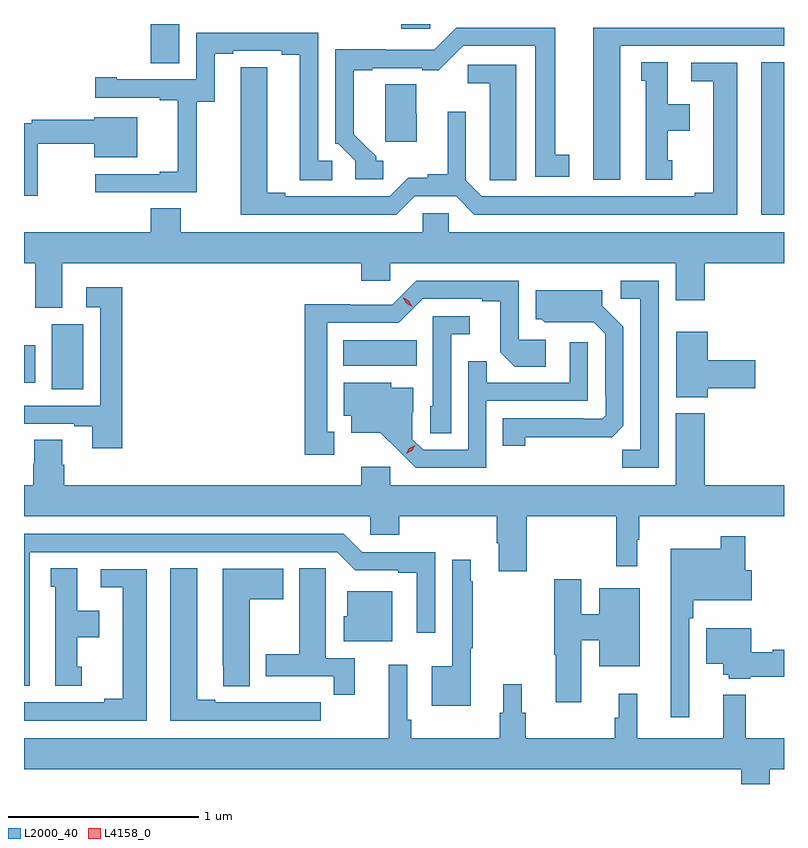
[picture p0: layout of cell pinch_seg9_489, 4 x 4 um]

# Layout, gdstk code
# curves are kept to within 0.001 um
import gdstk
lib = gdstk.Library(unit=1e-6, precision=1e-09)
def R(c, l, rs):  # rectangles x0, y0, x1, y1
    for r in rs: c.add(gdstk.rectangle(r[:2], r[2:], *l))
def P(c, l, *ps):  # polygons
    for p in ps: c.add(gdstk.Polygon(p, *l))
L2000_40 = (2000, 40)
L4158_0 = (4158, 0)

pinch_seg9_489 = lib.new_cell('pinch_seg9_489')
R(pinch_seg9_489, L2000_40, [(276.362,1202.416,276.526,1202.76), (276.215,1202.451,276.274,1202.647), (277.895,1202.54,278.282,1202.674), (280.094,1203.336,280.215,1204.139), (276.881,1204.132,277.033,1204.339), (278.201,1204.314,278.352,1204.339)])
P(pinch_seg9_489, L2000_40, [(279.352,1204.224),(280.215,1204.224),(280.215,1204.32),(279.212,1204.32),(279.212,1203.519),(279.352,1203.519)],
  [(278.107,1203.618),(278.068,1203.618),(278.068,1203.642),(277.951,1203.758),(277.951,1204.095),(278.047,1204.095),(278.047,1204.107),(278.312,1204.107),(278.312,1204.096),(278.398,1204.096),(278.526,1204.224),(278.906,1204.224),(278.906,1203.534),(279.085,1203.534),(279.085,1203.65),(279.01,1203.65),(279.01,1204.32),(278.49,1204.32),(278.373,1204.203),(278.117,1204.203),(278.117,1204.205),(277.854,1204.205),(277.854,1203.708),(277.869,1203.708),(277.959,1203.618),(277.959,1203.522),(278.107,1203.522)],
  [(277.125,1203.931),(277.219,1203.931),(277.219,1204.182),(277.315,1204.182),(277.315,1204.197),(277.571,1204.197),(277.571,1204.177),(277.667,1204.177),(277.667,1203.517),(277.837,1203.517),(277.837,1203.618),(277.764,1203.618),(277.764,1204.293),(277.122,1204.293),(277.122,1204.047),(276.703,1204.047),(276.703,1204.06),(276.591,1204.06),(276.591,1203.951),(276.929,1203.951),(276.929,1203.939),(277.025,1203.939),(277.025,1203.562),(276.929,1203.562),(276.929,1203.549),(276.591,1203.549),(276.591,1203.453),(277.125,1203.453)],
  [(279.628,1203.621),(279.604,1203.621),(279.604,1203.776),(279.718,1203.776),(279.718,1203.916),(279.604,1203.916),(279.604,1204.139),(279.464,1204.139),(279.464,1204.041),(279.488,1204.041),(279.488,1203.519),(279.628,1203.519)],
  [(278.271,1203.432),(278.489,1203.432),(278.585,1203.336),(279.97,1203.336),(279.97,1204.134),(279.726,1204.134),(279.726,1204.038),(279.842,1204.038),(279.842,1203.452),(279.746,1203.452),(279.746,1203.432),(278.625,1203.432),(278.541,1203.516),(278.541,1203.877),(278.444,1203.877),(278.444,1203.548),(278.34,1203.548),(278.34,1203.53),(278.237,1203.53),(278.139,1203.432),(277.591,1203.432),(277.591,1203.452),(277.495,1203.452),(277.495,1204.112),(277.356,1204.112),(277.355,1203.336),(278.175,1203.336)],
  [(278.806,1204.125),(278.55,1204.125),(278.55,1204.028),(278.666,1204.028),(278.666,1203.625),(278.667,1203.625),(278.667,1203.517),(278.806,1203.517)],
  [(278.281,1203.864),(278.28,1203.864),(278.28,1204.022),(278.117,1204.022),(278.117,1203.72),(278.281,1203.72)],
  [(276.288,1203.708),(276.584,1203.708),(276.584,1203.638),(276.811,1203.638),(276.811,1203.847),(276.584,1203.847),(276.584,1203.836),(276.256,1203.836),(276.256,1203.816),(276.215,1203.816),(276.215,1203.435),(276.288,1203.435)],
  [(276.415,1203.08),(277.991,1203.08),(277.991,1202.987),(278.142,1202.987),(278.142,1203.08),(279.644,1203.08),(279.644,1202.886),(279.797,1202.886),(279.797,1203.08),(280.215,1203.08),(280.215,1203.244),(278.451,1203.244),(278.451,1203.342),(278.313,1203.342),(278.313,1203.244),(277.041,1203.244),(277.041,1203.368),(276.881,1203.368),(276.881,1203.244),(276.215,1203.244),(276.215,1203.08),(276.275,1203.08),(276.275,1202.845),(276.415,1202.845)],
  [(277.849,1202.193),(277.81,1202.193),(277.81,1202.766),(278.187,1202.766),(278.313,1202.892),(278.627,1202.892),(278.627,1202.88),(278.721,1202.88),(278.721,1202.612),(278.797,1202.536),(278.962,1202.536),(278.962,1202.676),(278.82,1202.676),(278.82,1202.988),(278.28,1202.988),(278.154,1202.862),(277.932,1202.862),(277.932,1202.864),(277.692,1202.864),(277.692,1202.073),(277.849,1202.073)],
  [(279.555,1202.988),(279.357,1202.988),(279.357,1202.892),(279.459,1202.892),(279.459,1202.099),(279.364,1202.099),(279.364,1202.004),(279.555,1202.004)],
  [(276.731,1202.953),(276.543,1202.953),(276.543,1202.847),(276.615,1202.847),(276.615,1202.331),(276.215,1202.331),(276.215,1202.235),(276.479,1202.235),(276.479,1202.223),(276.575,1202.223),(276.575,1202.106),(276.731,1202.106)],
  [(278.853,1202.164),(279.31,1202.165),(279.369,1202.224),(279.369,1202.746),(279.259,1202.856),(279.259,1202.938),(278.909,1202.938),(278.909,1202.784),(278.94,1202.784),(278.956,1202.768),(279.213,1202.769),(279.273,1202.709),(279.273,1202.38),(279.276,1202.38),(279.276,1202.28),(279.258,1202.262),(279.158,1202.262),(279.158,1202.265),(278.734,1202.265),(278.734,1202.118),(278.853,1202.118)],
  [(278.463,1202.705),(278.56,1202.705),(278.56,1202.802),(278.367,1202.802),(278.367,1202.328),(278.352,1202.328),(278.352,1202.185),(278.463,1202.185)],
  [(279.814,1202.423),(280.063,1202.423),(280.063,1202.57),(279.814,1202.57),(279.814,1202.719),(279.647,1202.719),(279.647,1202.375),(279.814,1202.375)],
  [(278.649,1202.355),(279.183,1202.355),(279.183,1202.665),(279.087,1202.665),(279.087,1202.451),(278.651,1202.451),(278.651,1202.564),(278.553,1202.564),(278.553,1202.097),(278.316,1202.097),(278.259,1202.154),(278.259,1202.296),(278.263,1202.296),(278.263,1202.425),(278.148,1202.425),(278.148,1202.452),(277.898,1202.452),(277.898,1202.276),(277.937,1202.276),(277.937,1202.189),(278.089,1202.189),(278.276,1202.004),(278.649,1202.004)],
  [(278.862,1201.748),(279.333,1201.748),(279.333,1201.485),(279.442,1201.485),(279.442,1201.625),(279.454,1201.625),(279.454,1201.748),(280.215,1201.748),(280.215,1201.912),(279.797,1201.912),(279.797,1202.29),(279.644,1202.29),(279.644,1201.912),(278.142,1201.912),(278.142,1202.008),(277.991,1202.008),(277.991,1201.912),(276.428,1201.912),(276.428,1202.018),(276.415,1202.018),(276.415,1202.15),(276.268,1202.15),(276.268,1202.025),(276.263,1202.025),(276.263,1201.912),(276.215,1201.912),(276.215,1201.748),(278.037,1201.748),(278.037,1201.65),(278.189,1201.65),(278.189,1201.748),(278.702,1201.748),(278.702,1201.606),(278.714,1201.606),(278.714,1201.458),(278.862,1201.458)],
  [(276.244,1201.56),(277.863,1201.56),(277.959,1201.464),(278.186,1201.464),(278.186,1201.452),(278.282,1201.452),(278.282,1201.134),(278.379,1201.134),(278.379,1201.56),(277.995,1201.56),(277.899,1201.656),(276.215,1201.656),(276.215,1200.855),(276.244,1200.855)],
  [(279.717,1201.211),(279.737,1201.211),(279.737,1201.307),(280.045,1201.307),(280.045,1201.465),(280.01,1201.465),(280.01,1201.642),(279.882,1201.642),(279.882,1201.576),(279.62,1201.576),(279.62,1200.69),(279.717,1200.69)],
  [(278.566,1201.054),(278.578,1201.054),(278.578,1201.406),(278.566,1201.406),(278.566,1201.519),(278.469,1201.519),(278.469,1200.958),(278.36,1200.958),(278.36,1200.752),(278.566,1200.752)],
  [(276.52,1200.957),(276.496,1200.957),(276.496,1201.112),(276.61,1201.112),(276.61,1201.252),(276.496,1201.252),(276.496,1201.475),(276.356,1201.475),(276.356,1201.377),(276.38,1201.377),(276.38,1200.855),(276.52,1200.855)],
  [(277.777,1200.768),(277.664,1200.768),(277.664,1200.769),(277.498,1200.769),(277.498,1200.768),(277.222,1200.768),(277.222,1200.783),(277.126,1200.783),(277.126,1201.475),(276.986,1201.475),(276.986,1200.672),(277.777,1200.672)],
  [(277.955,1201.002),(277.804,1201.002),(277.804,1201.364),(277.803,1201.364),(277.803,1201.475),(277.664,1201.475),(277.664,1201.023),(277.487,1201.023),(277.487,1200.906),(277.846,1200.906),(277.846,1200.81),(277.955,1200.81)],
  [(277.402,1201.312),(277.579,1201.312),(277.579,1201.471),(277.262,1201.471),(277.262,1200.961),(277.263,1200.961),(277.263,1200.853),(277.402,1200.853)],
  [(276.862,1201.47),(276.618,1201.47),(276.618,1201.374),(276.734,1201.374),(276.734,1200.788),(276.638,1200.788),(276.638,1200.768),(276.215,1200.768),(276.215,1200.672),(276.862,1200.672)],
  [(279.148,1201.096),(279.242,1201.096),(279.242,1200.959),(279.457,1200.959),(279.457,1201.369),(279.242,1201.369),(279.242,1201.232),(279.148,1201.232),(279.148,1201.417),(279.007,1201.417),(279.007,1201.019),(279.014,1201.019),(279.014,1200.768),(279.148,1200.768)],
  [(278.152,1201.354),(277.916,1201.354),(277.916,1201.221),(277.898,1201.221),(277.898,1201.091),(278.152,1201.091)],
  [(280.038,1200.904),(280.215,1200.904),(280.215,1201.046),(280.155,1201.046),(280.155,1201.033),(280.042,1201.033),(280.042,1201.159),(279.806,1201.159),(279.806,1200.971),(279.896,1200.971),(279.896,1200.915),(279.924,1200.915),(279.924,1200.893),(280.038,1200.893)],
  [(280.141,1200.416),(280.215,1200.416),(280.215,1200.58),(280.013,1200.58),(280.013,1200.808),(279.896,1200.808),(279.896,1200.58),(279.443,1200.58),(279.443,1200.814),(279.344,1200.814),(279.344,1200.689),(279.325,1200.689),(279.325,1200.58),(278.855,1200.58),(278.855,1200.714),(278.836,1200.714),(278.836,1200.865),(278.738,1200.865),(278.738,1200.714),(278.719,1200.714),(278.719,1200.58),(278.252,1200.58),(278.252,1200.676),(278.232,1200.676),(278.232,1200.967),(278.135,1200.967),(278.135,1200.58),(276.215,1200.58),(276.215,1200.416),(279.989,1200.416),(279.989,1200.339),(280.141,1200.339)])
P(pinch_seg9_489, L4158_0, [(278.226,1202.078),(278.226,1202.078),(278.243,1202.107),(278.274,1202.122),(278.274,1202.122),(278.274,1202.122),(278.257,1202.092),(278.226,1202.078)],
  [(278.258,1202.85),(278.226,1202.869),(278.208,1202.902),(278.208,1202.902),(278.208,1202.902),(278.24,1202.883),(278.258,1202.85),(278.258,1202.85)])

lib.write_gds('pinch_seg9_489.gds')
